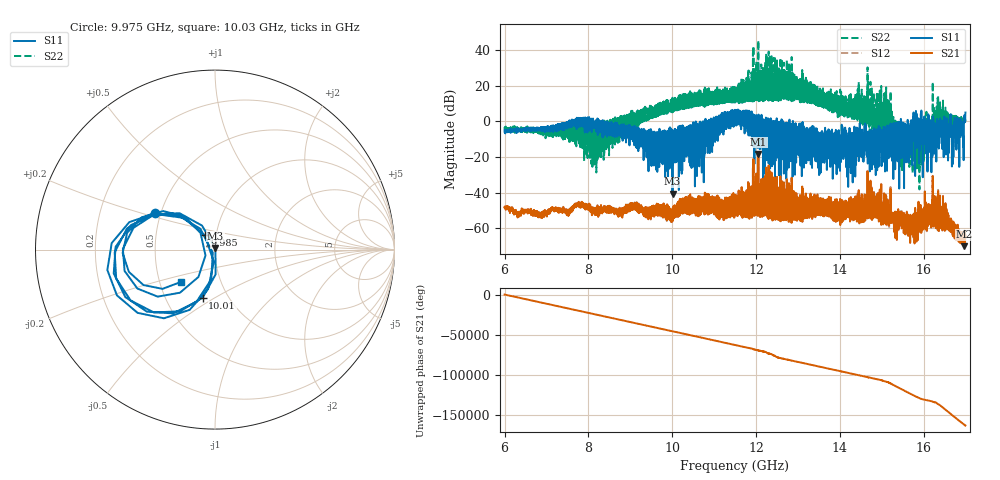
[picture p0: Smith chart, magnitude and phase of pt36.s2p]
#  HZ  S  RI  R  50.00
! Rohde & Schwarz Vector Network Analyzer
! Rohde-Schwarz,ZNA67-2Port,1332450062101215,3.01
! Created: UTC 10/15/2026, 4:04:28 PM
! freq[Hz]  re:S11  im:S11  re:S21  im:S21  re:S12  im:S12  re:S22  im:S22
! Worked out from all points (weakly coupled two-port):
!   11001 points, 6 GHz to 17 GHz, reference 50 ohm
!   highest |S21| = -18.28 dB at 12.06 GHz (marker M1); lowest = -70.2 dB at 16.97 GHz (marker M2)
!   lowest |S11| = -40.7 dB at 10.01 GHz (marker M3), VSWR 1.02, Z = 50.2 + j0.891 ohm
!   |S11| at or under -10 dB: 13.48056 GHz to 13.49689 GHz (16.33 MHz wide, 0.121 % of centre); 13.59803 GHz to 13.62492 GHz (26.9 MHz wide, 0.198 % of centre); 14.15673 GHz to 14.1743 GHz (17.58 MHz wide, 0.124 % of centre) (the widest 3 of 504)
!   |S22| runs from -38.3 to 45.6 dB; largest |S21 - S12| = 0.0037
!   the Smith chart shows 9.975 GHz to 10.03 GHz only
!   S11 on the Smith chart (normalised r, x): 9.975 GHz: 0.47, +0.22; 9.985 GHz: 0.88, +0.14; 10.01 GHz: 0.76, -0.44; 10.03 GHz: 0.64, -0.25
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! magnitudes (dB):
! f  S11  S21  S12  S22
! 6 GHz  -5.0  -48.1  -48.1  -4.5
! 6.855 GHz  -4.9  -53.0  -53.1  -4.1
! 7.834 GHz  -0.2  -45.8  -45.7  -2.2
! 8.336 GHz  -1.6  -48.9  -48.8  -1.4
! 9.667 GHz  -12.1  -47.7  -47.9  9.4
! 9.975 GHz  -8.2  -52.1  -52.1  8.5
! 9.985 GHz  -20.2  -50.2  -50.3  12.1
! 10.01 GHz  -11.2  -51.8  -52.1  11.0
! 10.01 GHz  -40.7  -49.0  -48.9  13.3
! 10.03 GHz  -11.6  -53.7  -54.0  9.5
! 11.5 GHz  6.3  -49.6  -49.6  12.3
! 12.06 GHz  -5.2  -18.3  -18.2  45.6
! 13.33 GHz  -7.8  -51.9  -51.9  12.6
! 14.21 GHz  -7.5  -53.5  -53.0  2.6
! 15.17 GHz  -9.7  -54.6  -55.2  1.1
! 15.69 GHz  -3.4  -52.7  -53.1  -14.1
! 15.79 GHz  -3.2  -55.5  -55.8  -13.9
! 16.06 GHz  -8.9  -53.9  -53.7  -2.0
! 16.35 GHz  -12.4  -57.0  -57.4  -3.2
! 16.56 GHz  1.3  -53.4  -53.2  3.3
! 16.97 GHz  0.5  -70.2  -70.1  -0.6
! 17 GHz  5.0  -65.0  -65.3  0.2
